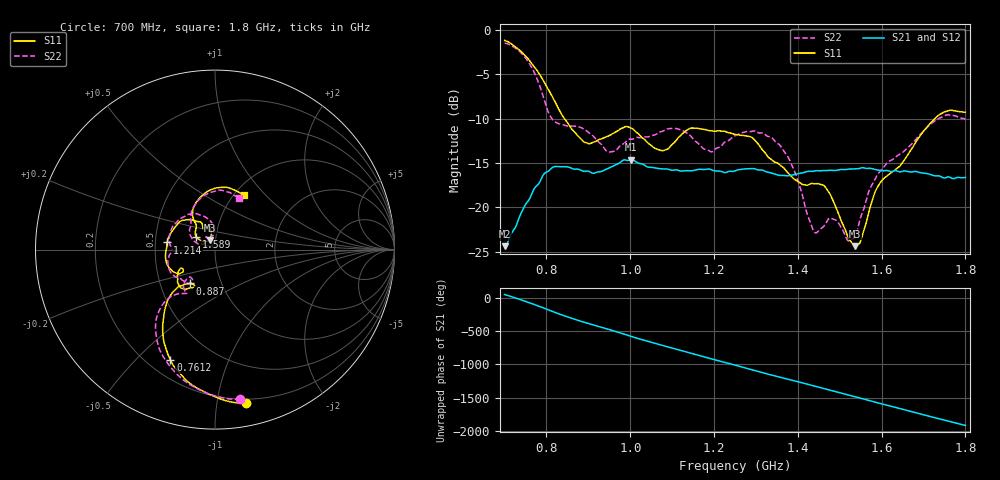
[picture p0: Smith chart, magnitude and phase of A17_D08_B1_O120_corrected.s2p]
! Created with skrf 1.9.0 (http://scikit-rf.org).
# Hz S RI R 50.0
!freq ReS11 ImS11 ReS21 ImS21 ReS12 ImS12 ReS22 ImS22
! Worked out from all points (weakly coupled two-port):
!   1601 points, 700 MHz to 1.8 GHz, reference 50 ohm
!   highest |S21| = -14.62 dB at 1.002 GHz (marker M1); lowest = -24.4 dB at 700 MHz (marker M2)
!   lowest |S11| = -24.4 dB at 1.536 GHz (marker M3), VSWR 1.13, Z = 46.9 + j4.98 ohm
!   |S11| at or under -10 dB: 842.9 MHz to 1.727 GHz (884 MHz wide, 68.8 % of centre)
!   |S22| runs from -23.8 to -1.5 dB; largest |S21 - S12| = 0.0036
!   S11 on the Smith chart (normalised r, x): 700 MHz: 0.17, -1.21; 761.2 MHz: 0.29, -0.64; 887 MHz: 0.71, -0.28; 1.214 GHz: 0.58, +0.05; 1.589 GHz: 0.80, +0.12; 1.8 GHz: 1.11, +0.76
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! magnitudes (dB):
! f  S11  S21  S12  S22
! 700 MHz  -1.2  -24.4  -24.2  -1.5
! 761.2 MHz  -3.6  -18.9  -18.8  -3.9
! 814.1 MHz  -7.5  -15.5  -15.5  -10.1
! 883.6 MHz  -12.4  -15.9  -15.8  -11.0
! 887 MHz  -12.5  -15.9  -15.8  -11.1
! 948.2 MHz  -12.0  -15.6  -15.6  -13.8
! 1.002 GHz  -11.1  -14.6  -14.7  -12.3
! 1.067 GHz  -13.5  -15.6  -15.6  -11.6
! 1.143 GHz  -11.1  -15.9  -15.9  -11.9
! 1.214 GHz  -11.4  -15.9  -15.9  -13.2
! 1.25 GHz  -11.8  -15.9  -15.8  -11.9
! 1.297 GHz  -12.4  -15.7  -15.7  -11.4
! 1.358 GHz  -15.3  -16.4  -16.4  -13.0
! 1.392 GHz  -16.8  -16.3  -16.3  -15.9
! 1.434 GHz  -17.3  -16.0  -15.9  -22.2
! 1.47 GHz  -18.0  -15.9  -15.8  -21.5
! 1.536 GHz  -24.4  -15.7  -15.7  -23.4
! 1.55 GHz  -23.7  -15.6  -15.6  -21.1
! 1.589 GHz  -17.8  -15.8  -15.8  -16.4
! 1.617 GHz  -16.3  -15.9  -15.9  -14.8
! 1.734 GHz  -9.7  -16.5  -16.5  -10.0
! 1.8 GHz  -9.3  -16.6  -16.6  -10.0
